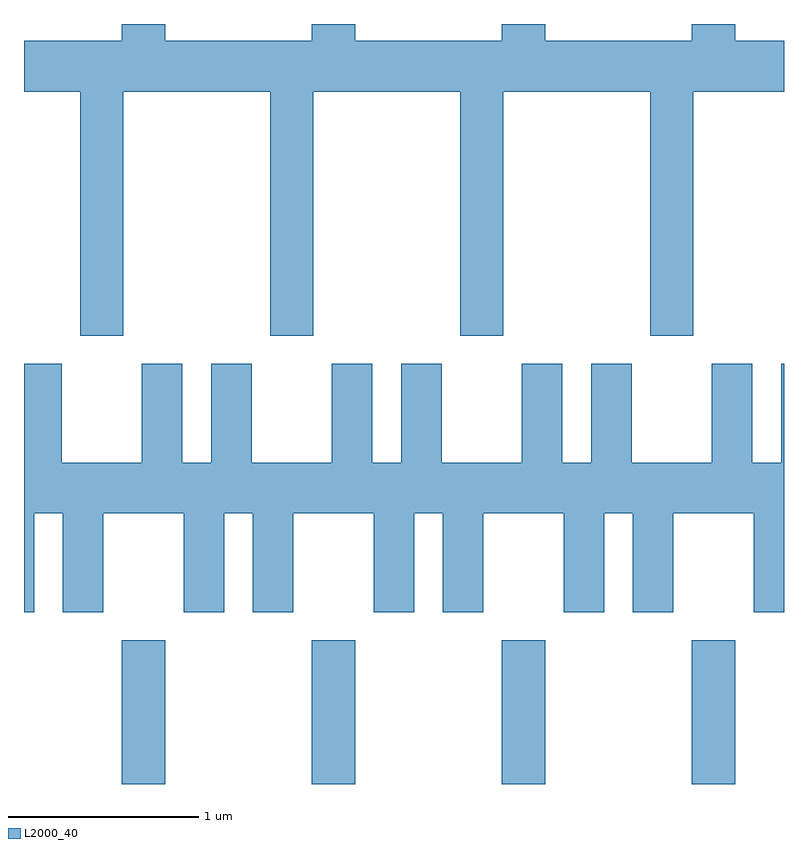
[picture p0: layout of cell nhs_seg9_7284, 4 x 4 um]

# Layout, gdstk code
import gdstk
lib = gdstk.Library(unit=1e-6, precision=1e-09)
def R(c, l, rs):  # rectangles x0, y0, x1, y1
    for r in rs: c.add(gdstk.rectangle(r[:2], r[2:], *l))
def A(c, l, x, y, w, h, nx, ny, dx, dy):  # array of equal rectangles
    R(c, l, [(x+i*dx, y+j*dy, x+i*dx+w, y+j*dy+h) for i in range(nx) for j in range(ny)])
def P(c, l, *ps):  # polygons
    for p in ps: c.add(gdstk.Polygon(p, *l))
L2000_40 = (2000, 40)

nhs_seg9_7284 = lib.new_cell('nhs_seg9_7284')
A(nhs_seg9_7284, L2000_40, 402.126, 1950.432, 0.228, 0.757, 4, 1, 1, 0)
P(nhs_seg9_7284, L2000_40, [(405.126,1954.344),(404.354,1954.344),(404.354,1954.432),(404.126,1954.432),(404.126,1954.344),(403.354,1954.344),(403.354,1954.432),(403.126,1954.432),(403.126,1954.344),(402.354,1954.344),(402.354,1954.432),(402.126,1954.432),(402.126,1954.344),(401.611,1954.344),(401.611,1954.076),(401.906,1954.076),(401.906,1952.791),(402.134,1952.791),(402.134,1954.076),(402.906,1954.076),(402.906,1952.791),(403.134,1952.791),(403.134,1954.076),(403.906,1954.076),(403.906,1952.791),(404.134,1952.791),(404.134,1954.076),(404.906,1954.076),(404.906,1952.791),(405.134,1952.791),(405.134,1954.076),(405.611,1954.076),(405.611,1954.344),(405.354,1954.344),(405.354,1954.432),(405.126,1954.432)],
  [(401.664,1951.856),(401.816,1951.856),(401.816,1951.336),(402.029,1951.336),(402.029,1951.856),(402.451,1951.856),(402.451,1951.336),(402.664,1951.336),(402.664,1951.856),(402.816,1951.856),(402.816,1951.336),(403.029,1951.336),(403.029,1951.856),(403.451,1951.856),(403.451,1951.336),(403.664,1951.336),(403.664,1951.856),(403.816,1951.856),(403.816,1951.336),(404.029,1951.336),(404.029,1951.856),(404.451,1951.856),(404.451,1951.336),(404.664,1951.336),(404.664,1951.856),(404.816,1951.856),(404.816,1951.336),(405.029,1951.336),(405.029,1951.856),(405.451,1951.856),(405.451,1951.336),(405.611,1951.336),(405.611,1952.644),(405.596,1952.644),(405.596,1952.124),(405.444,1952.124),(405.444,1952.644),(405.231,1952.644),(405.231,1952.124),(404.809,1952.124),(404.809,1952.644),(404.596,1952.644),(404.596,1952.124),(404.444,1952.124),(404.444,1952.644),(404.231,1952.644),(404.231,1952.124),(403.809,1952.124),(403.809,1952.644),(403.596,1952.644),(403.596,1952.124),(403.444,1952.124),(403.444,1952.644),(403.231,1952.644),(403.231,1952.124),(402.809,1952.124),(402.809,1952.644),(402.596,1952.644),(402.596,1952.124),(402.444,1952.124),(402.444,1952.644),(402.231,1952.644),(402.231,1952.124),(401.809,1952.124),(401.809,1952.644),(401.611,1952.644),(401.611,1951.336),(401.664,1951.336)])

lib.write_gds('nhs_seg9_7284.gds')
